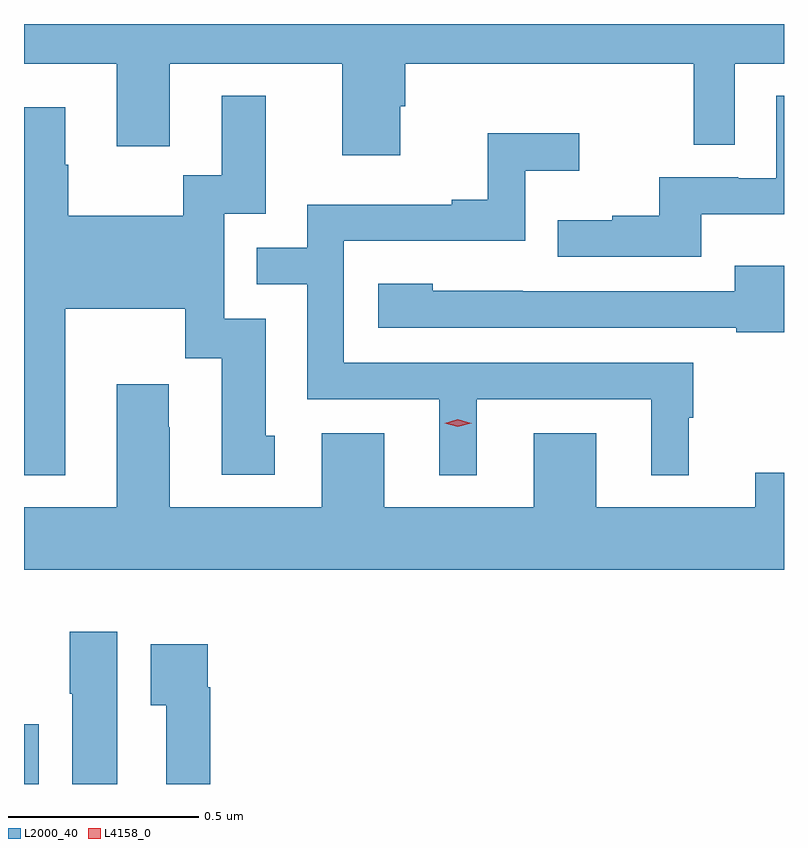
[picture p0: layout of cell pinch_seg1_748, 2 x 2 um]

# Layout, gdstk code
import gdstk
lib = gdstk.Library(unit=1e-6, precision=1e-09)
def R(c, l, rs):  # rectangles x0, y0, x1, y1
    for r in rs: c.add(gdstk.rectangle(r[:2], r[2:], *l))
def P(c, l, *ps):  # polygons
    for p in ps: c.add(gdstk.Polygon(p, *l))
L2000_40 = (2000, 40)
L4158_0 = (4158, 0)

pinch_seg1_748 = lib.new_cell('pinch_seg1_748')
R(pinch_seg1_748, L2000_40, [(730.453,537.848,730.492,538.005)])
P(pinch_seg1_748, L2000_40, [(731.443,539.631),(731.456,539.631),(731.456,539.744),(732.216,539.744),(732.216,539.53),(732.324,539.53),(732.324,539.744),(732.453,539.744),(732.453,539.848),(730.453,539.848),(730.453,539.744),(730.697,539.744),(730.697,539.526),(730.837,539.526),(730.837,539.744),(731.291,539.744),(731.291,539.502),(731.443,539.502)],
  [(732.235,539.348),(732.453,539.348),(732.453,539.659),(732.432,539.659),(732.432,539.442),(732.332,539.442),(732.332,539.445),(732.125,539.445),(732.125,539.344),(732.001,539.344),(732.001,539.332),(731.857,539.332),(731.857,539.235),(732.235,539.235)],
  [(730.561,539.099),(730.877,539.099),(730.877,538.968),(730.973,538.968),(730.973,538.662),(731.113,538.662),(731.113,538.764),(731.089,538.764),(731.089,539.073),(730.98,539.073),(730.98,539.349),(731.089,539.349),(731.089,539.659),(730.973,539.659),(730.973,539.45),(730.872,539.45),(730.872,539.344),(730.569,539.344),(730.569,539.478),(730.561,539.478),(730.561,539.629),(730.453,539.629),(730.453,538.661),(730.561,538.661)],
  [(731.644,538.86),(732.104,538.86),(732.104,538.661),(732.202,538.661),(732.202,538.812),(732.214,538.812),(732.214,538.956),(731.295,538.956),(731.295,539.277),(731.772,539.277),(731.772,539.462),(731.914,539.462),(731.914,539.561),(731.674,539.561),(731.674,539.386),(731.579,539.386),(731.579,539.373),(731.199,539.373),(731.199,539.259),(731.065,539.259),(731.065,539.163),(731.199,539.163),(731.199,538.86),(731.546,538.86),(731.546,538.661),(731.644,538.661)],
  [(732.453,539.212),(732.323,539.212),(732.323,539.145),(731.765,539.145),(731.765,539.146),(731.529,539.146),(731.529,539.164),(731.385,539.164),(731.385,539.049),(732.327,539.049),(732.327,539.037),(732.453,539.037)],
  [(732.453,538.667),(732.377,538.667),(732.377,538.576),(731.959,538.576),(731.959,538.771),(731.795,538.771),(731.795,538.576),(731.401,538.576),(731.401,538.771),(731.237,538.771),(731.237,538.576),(730.837,538.576),(730.837,538.787),(730.834,538.787),(730.834,538.9),(730.697,538.9),(730.697,538.576),(730.453,538.576),(730.453,538.412),(732.453,538.412)],
  [(730.699,538.249),(730.574,538.249),(730.574,538.086),(730.58,538.086),(730.58,537.848),(730.699,537.848)],
  [(730.943,538.103),(730.936,538.103),(730.936,538.216),(730.787,538.216),(730.787,538.055),(730.827,538.055),(730.827,537.848),(730.943,537.848)])
P(pinch_seg1_748, L4158_0, [(731.595,538.788),(731.56,538.798),(731.559,538.798),(731.56,538.798),(731.595,538.808),(731.63,538.798),(731.631,538.798),(731.63,538.798)])

lib.write_gds('pinch_seg1_748.gds')
